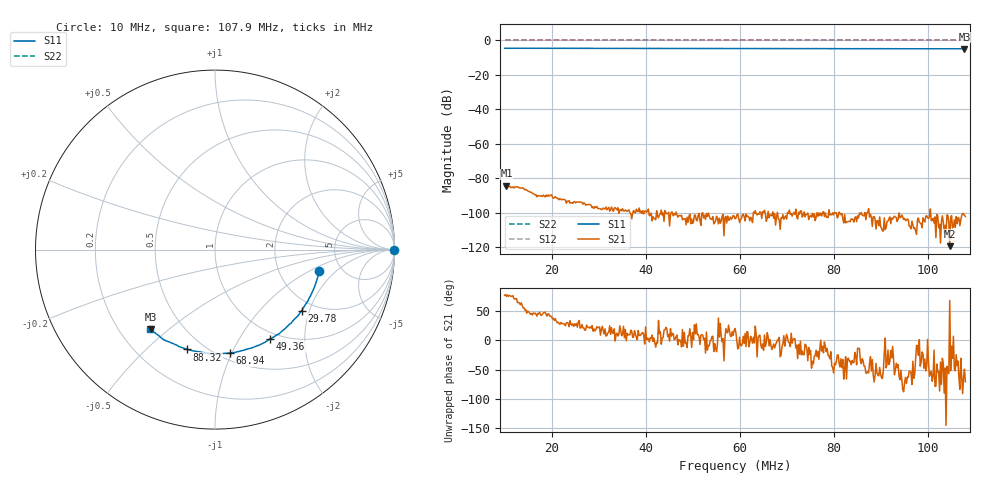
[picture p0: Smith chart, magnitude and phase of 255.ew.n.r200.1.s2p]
! Anritsu VNA Master:  Model: MS2036C/10/77
! SN:  1601066
! /card0/usr/255.ew.n.r200.1.s2p
! Existing Calibration Information:
! TYPE:  Current Settings,  Active Cal Settings
! TIME:  12/17/2017 06:46:50 PM,  12/17/2017 06:38:14 PM
! INTERNAL TEMP:  43.5 C,  43.8 C
! # POINTS:  501,  501
! START FREQ:  10.000 MHz,  10.000 MHz
! STOP FREQ:  107.903 125 MHz,  107.903 125 MHz
! SOURCE POWER:  High,  High
! IFBW:  100 Hz,  100 Hz
! AVG FACTOR:  1 ,  1
! REF PLANE 1:  0 mm,  0 mm
! REF PLANE 2:  0 mm,  0 mm
! CAL TYPE:  Full S11,  Full S11
! CAL METHOD:  SOLT,  SOLT
! CAL LINE TYPE:  Coax,  Coax
! DUT PORT 1:  N-Conn(F),  N-Conn(F)
! DUT PORT 2:  K-Conn(F),  K-Conn(F)
! CAL STATUS:  OK: Accuracy High,  --
# GHZ S DB R 50.0
! FREQ.GHZ  S11DB  S11A  S21DB  S21A  S12DB  S12A  S22DB  S22A
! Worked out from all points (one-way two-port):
!   501 points, 10 MHz to 107.9 MHz, reference 50 ohm
!   highest |S21| = -84.28 dB at 10.39 MHz (marker M1); lowest = -119.4 dB at 104.6 MHz (marker M2)
!   lowest |S11| = -4.9 dB at 107.7 MHz (marker M3), VSWR 3.66, Z = 16.5 - j21.8 ohm
!   |S11| at or under -10 dB: nowhere
!   |S22| runs from 0.0 to 0.0 dB; largest |S21 - S12| = 1
!   S11 on the Smith chart (normalised r, x): 10 MHz: 3.41, -1.27; 29.78 MHz: 1.70, -1.78; 49.36 MHz: 0.90, -1.36; 68.94 MHz: 0.56, -0.98; 88.32 MHz: 0.41, -0.68; 107.9 MHz: 0.33, -0.43
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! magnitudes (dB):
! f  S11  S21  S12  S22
! 10 MHz  -4.5  -84.4  0.0  0.0
! 10.39 MHz  -4.5  -84.3  0.0  0.0
! 26.45 MHz  -4.6  -94.1  0.0  0.0
! 29.78 MHz  -4.6  -97.5  0.0  0.0
! 32.91 MHz  -4.6  -98.2  0.0  0.0
! 35.26 MHz  -4.6  -99.0  0.0  0.0
! 42.7 MHz  -4.6  -102.9  0.0  0.0
! 44.46 MHz  -4.6  -100.5  0.0  0.0
! 49.36 MHz  -4.7  -100.8  0.0  0.0
! 51.9 MHz  -4.6  -100.4  0.0  0.0
! 59.15 MHz  -4.7  -103.2  0.0  0.0
! 68.94 MHz  -4.7  -103.3  0.0  0.0
! 75.4 MHz  -4.7  -100.4  0.0  0.0
! 78.14 MHz  -4.7  -100.0  0.0  0.0
! 83.04 MHz  -4.8  -105.1  0.0  0.0
! 88.32 MHz  -4.8  -102.3  0.0  0.0
! 91.65 MHz  -4.8  -103.5  0.0  0.0
! 94.98 MHz  -4.8  -103.3  0.0  0.0
! 99.88 MHz  -4.8  -102.8  0.0  0.0
! 104.6 MHz  -4.9  -119.4  0.0  0.0
! 107.7 MHz  -4.9  -101.6  0.0  0.0
! 107.9 MHz  -4.9  -102.2  0.0  0.0
